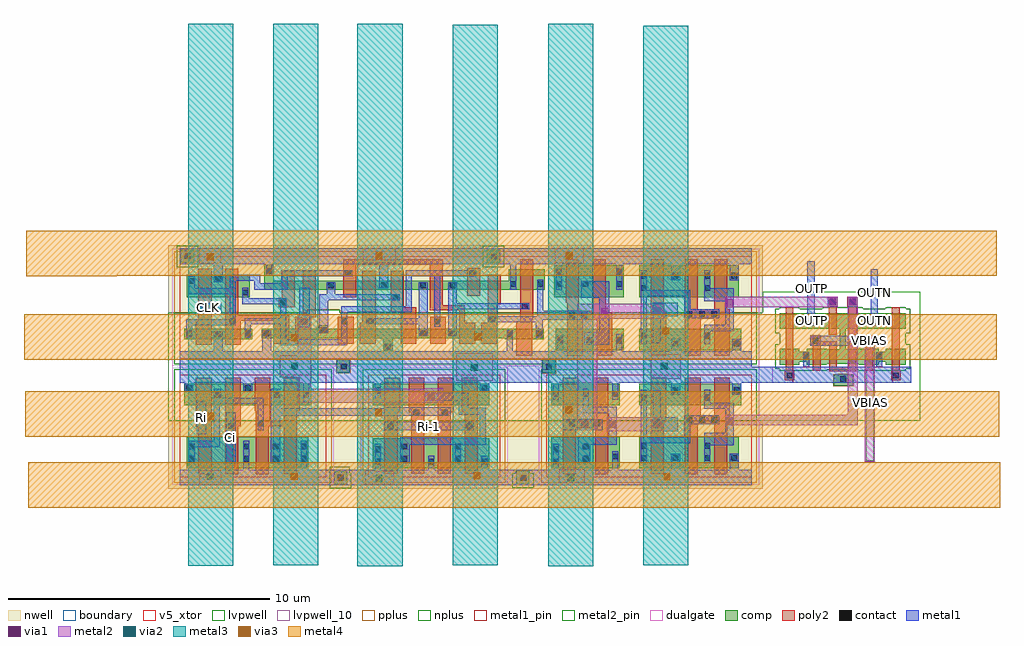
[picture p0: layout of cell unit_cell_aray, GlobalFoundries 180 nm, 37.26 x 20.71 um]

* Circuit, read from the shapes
.subckt unit_cell_aray CLK Ci OUTN OUTP Ri Ri-1 VBIAS VDD
XM1 n1 Ri gf180mcu_fd_sc_mcu7t5v0__dffq_2_3/D gf180mcu_fd_sc_mcu7t5v0__dffq_2_3/D nfet_05v0 w=0.82u l=0.6u
XM2 gf180mcu_fd_sc_mcu7t5v0__dffq_2_3/D CLK n2 gf180mcu_fd_sc_mcu7t5v0__dffq_2_3/D nfet_05v0 w=0.405u l=0.6u
XM3 gf180mcu_fd_sc_mcu7t5v0__dffq_2_3/D Ci n1 gf180mcu_fd_sc_mcu7t5v0__dffq_2_3/D nfet_05v0 w=0.82u l=0.6u
XM4 n3 n2 gf180mcu_fd_sc_mcu7t5v0__dffq_2_3/D gf180mcu_fd_sc_mcu7t5v0__dffq_2_3/D nfet_05v0 w=0.405u l=0.6u
XM5 gf180mcu_fd_sc_mcu7t5v0__nand2_2_1/A1 n1 gf180mcu_fd_sc_mcu7t5v0__dffq_2_3/D gf180mcu_fd_sc_mcu7t5v0__dffq_2_3/D nfet_05v0 w=0.82u l=0.6u m=2
XM6 n4 n2 gf180mcu_fd_sc_mcu7t5v0__dffq_2_3/D gf180mcu_fd_sc_mcu7t5v0__dffq_2_3/D nfet_05v0 w=0.36u l=0.6u
XM7 n5 gf180mcu_fd_sc_mcu7t5v0__dffq_2_3/D n4 gf180mcu_fd_sc_mcu7t5v0__dffq_2_3/D nfet_05v0 w=0.36u l=0.6u
XM8 n6 n3 n5 gf180mcu_fd_sc_mcu7t5v0__dffq_2_3/D nfet_05v0 w=0.36u l=0.6u
XM9 gf180mcu_fd_sc_mcu7t5v0__dffq_2_3/D n7 n6 gf180mcu_fd_sc_mcu7t5v0__dffq_2_3/D nfet_05v0 w=0.36u l=0.6u
XM10 n8 Ri-1 gf180mcu_fd_sc_mcu7t5v0__dffq_2_3/D gf180mcu_fd_sc_mcu7t5v0__dffq_2_3/D nfet_05v0 w=0.82u l=0.6u
XM11 n7 n5 gf180mcu_fd_sc_mcu7t5v0__dffq_2_3/D gf180mcu_fd_sc_mcu7t5v0__dffq_2_3/D nfet_05v0 w=0.36u l=0.6u
XM12 gf180mcu_fd_sc_mcu7t5v0__dffq_2_3/D gf180mcu_fd_sc_mcu7t5v0__nand2_2_1/A1 n8 gf180mcu_fd_sc_mcu7t5v0__dffq_2_3/D nfet_05v0 w=0.82u l=0.6u
XM13 n9 n3 n7 gf180mcu_fd_sc_mcu7t5v0__dffq_2_3/D nfet_05v0 w=0.36u l=0.6u
XM14 n10 gf180mcu_fd_sc_mcu7t5v0__nand2_2_1/A1 gf180mcu_fd_sc_mcu7t5v0__dffq_2_3/D gf180mcu_fd_sc_mcu7t5v0__dffq_2_3/D nfet_05v0 w=0.82u l=0.6u
XM15 n11 n2 n9 gf180mcu_fd_sc_mcu7t5v0__dffq_2_3/D nfet_05v0 w=0.36u l=0.6u
XM16 gf180mcu_fd_sc_mcu7t5v0__dffq_2_3/D Ri-1 n10 gf180mcu_fd_sc_mcu7t5v0__dffq_2_3/D nfet_05v0 w=0.82u l=0.6u
XM17 gf180mcu_fd_sc_mcu7t5v0__dffq_2_3/D n12 n11 gf180mcu_fd_sc_mcu7t5v0__dffq_2_3/D nfet_05v0 w=0.36u l=0.6u
XM18 n12 n9 gf180mcu_fd_sc_mcu7t5v0__dffq_2_3/D gf180mcu_fd_sc_mcu7t5v0__dffq_2_3/D nfet_05v0 w=0.4u l=0.6u
XM19 gf180mcu_fd_sc_mcu7t5v0__buf_2_4/I gf180mcu_fd_sc_mcu7t5v0__buf_2_5/I gf180mcu_fd_sc_mcu7t5v0__dffq_2_3/D gf180mcu_fd_sc_mcu7t5v0__dffq_2_3/D nfet_05v0 w=0.82u l=0.6u m=2
XM20 gf180mcu_fd_sc_mcu7t5v0__buf_2_5/I n12 gf180mcu_fd_sc_mcu7t5v0__dffq_2_3/D gf180mcu_fd_sc_mcu7t5v0__dffq_2_3/D nfet_05v0 w=0.82u l=0.6u m=2
XM21 gf180mcu_fd_sc_mcu7t5v0__dffq_2_3/D gf180mcu_fd_sc_mcu7t5v0__buf_2_4/I n13 gf180mcu_fd_sc_mcu7t5v0__dffq_2_3/D nfet_05v0 w=0.82u l=0.6u
XM22 gf180mcu_fd_sc_mcu7t5v0__dffq_2_3/D gf180mcu_fd_sc_mcu7t5v0__buf_2_5/I n14 gf180mcu_fd_sc_mcu7t5v0__dffq_2_3/D nfet_05v0 w=0.82u l=0.6u
XM23 CS_Switch_16x2_6/INN n13 gf180mcu_fd_sc_mcu7t5v0__dffq_2_3/D gf180mcu_fd_sc_mcu7t5v0__dffq_2_3/D nfet_05v0 w=0.82u l=0.6u m=2
XM24 CS_Switch_16x2_6/INP n14 gf180mcu_fd_sc_mcu7t5v0__dffq_2_3/D gf180mcu_fd_sc_mcu7t5v0__dffq_2_3/D nfet_05v0 w=0.82u l=0.6u m=2
XM25 gf180mcu_fd_sc_mcu7t5v0__dffq_2_3/D gf180mcu_fd_sc_mcu7t5v0__dffq_2_3/D n15 gf180mcu_fd_sc_mcu7t5v0__dffq_2_3/D nfet_03v3 w=0.62u l=0.3u
XM26 OUTP gf180mcu_fd_sc_mcu7t5v0__dffq_2_3/D n16 gf180mcu_fd_sc_mcu7t5v0__dffq_2_3/D nfet_03v3 w=0.6u l=0.3u
XM27 n17 VBIAS gf180mcu_fd_sc_mcu7t5v0__dffq_2_3/D gf180mcu_fd_sc_mcu7t5v0__dffq_2_3/D nfet_03v3 w=0.62u l=0.3u
XM28 n18 CS_Switch_16x2_6/INP OUTP gf180mcu_fd_sc_mcu7t5v0__dffq_2_3/D nfet_03v3 w=0.6u l=0.3u
XM29 n18 VBIAS n17 gf180mcu_fd_sc_mcu7t5v0__dffq_2_3/D nfet_03v3 w=0.56u l=0.28u
XM30 n19 VBIAS n18 gf180mcu_fd_sc_mcu7t5v0__dffq_2_3/D nfet_03v3 w=0.56u l=0.28u
XM31 OUTN CS_Switch_16x2_6/INN n18 gf180mcu_fd_sc_mcu7t5v0__dffq_2_3/D nfet_03v3 w=0.6u l=0.3u
XM32 gf180mcu_fd_sc_mcu7t5v0__dffq_2_3/D VBIAS n19 gf180mcu_fd_sc_mcu7t5v0__dffq_2_3/D nfet_03v3 w=0.62u l=0.3u
XM33 n20 gf180mcu_fd_sc_mcu7t5v0__dffq_2_3/D gf180mcu_fd_sc_mcu7t5v0__dffq_2_3/D gf180mcu_fd_sc_mcu7t5v0__dffq_2_3/D nfet_03v3 w=0.62u l=0.3u
XM34 n21 gf180mcu_fd_sc_mcu7t5v0__dffq_2_3/D OUTN gf180mcu_fd_sc_mcu7t5v0__dffq_2_3/D nfet_03v3 w=0.6u l=0.3u
XM35 n22 Ri n1 VDD pfet_05v0 w=1.22u l=0.5u
XM36 VDD CLK n2 VDD pfet_05v0 w=0.865u l=0.5u
XM37 VDD Ci n22 VDD pfet_05v0 w=1.22u l=0.5u
XM38 n3 n2 VDD VDD pfet_05v0 w=0.865u l=0.5u
XM39 gf180mcu_fd_sc_mcu7t5v0__nand2_2_1/A1 n1 VDD VDD pfet_05v0 w=1.22u l=0.5u m=2
XM40 n23 n3 VDD VDD pfet_05v0 w=0.36u l=0.5u
XM41 n5 gf180mcu_fd_sc_mcu7t5v0__dffq_2_3/D n23 VDD pfet_05v0 w=0.36u l=0.5u
XM42 n24 n2 n5 VDD pfet_05v0 w=0.36u l=0.5u
XM43 VDD n7 n24 VDD pfet_05v0 w=0.36u l=0.5u
XM44 gf180mcu_fd_sc_mcu7t5v0__dffq_2_3/D Ri-1 VDD VDD pfet_05v0 w=1.13u l=0.5u m=2
XM45 n7 n5 VDD VDD pfet_05v0 w=0.36u l=0.5u
XM46 VDD gf180mcu_fd_sc_mcu7t5v0__nand2_2_1/A1 gf180mcu_fd_sc_mcu7t5v0__dffq_2_3/D VDD pfet_05v0 w=1.13u l=0.5u m=2
XM47 n9 n2 n7 VDD pfet_05v0 w=0.36u l=0.5u
XM48 n25 n3 n9 VDD pfet_05v0 w=0.36u l=0.5u
XM49 VDD n12 n25 VDD pfet_05v0 w=0.36u l=0.5u
XM50 n12 n9 VDD VDD pfet_05v0 w=0.8u l=0.5u
XM51 gf180mcu_fd_sc_mcu7t5v0__buf_2_4/I gf180mcu_fd_sc_mcu7t5v0__buf_2_5/I VDD VDD pfet_05v0 w=1.22u l=0.5u m=2
XM52 gf180mcu_fd_sc_mcu7t5v0__buf_2_5/I n12 VDD VDD pfet_05v0 w=1.22u l=0.5u m=2
XM53 VDD gf180mcu_fd_sc_mcu7t5v0__buf_2_4/I n13 VDD pfet_05v0 w=1.22u l=0.5u
XM54 VDD gf180mcu_fd_sc_mcu7t5v0__buf_2_5/I n14 VDD pfet_05v0 w=1.22u l=0.5u
XM55 CS_Switch_16x2_6/INN n13 VDD VDD pfet_05v0 w=1.22u l=0.5u m=2
XM56 CS_Switch_16x2_6/INP n14 VDD VDD pfet_05v0 w=1.22u l=0.5u m=2
.ends

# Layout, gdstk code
import gdstk
lib = gdstk.Library(unit=1e-6, precision=1e-09)
def R(c, l, rs):  # rectangles x0, y0, x1, y1
    for r in rs: c.add(gdstk.rectangle(r[:2], r[2:], *l))
def A(c, l, x, y, w, h, nx, ny, dx, dy):  # array of equal rectangles
    R(c, l, [(x+i*dx, y+j*dy, x+i*dx+w, y+j*dy+h) for i in range(nx) for j in range(ny)])
def P(c, l, *ps):  # polygons
    for p in ps: c.add(gdstk.Polygon(p, *l))
boundary = (0, 0)
nwell = (21, 0)
comp = (22, 0)
poly2 = (30, 0)
pplus = (31, 0)
nplus = (32, 0)
contact = (33, 0)
metal1 = (34, 0)
metal1_pin = (34, 10)
via1 = (35, 0)
metal2 = (36, 0)
metal2_pin = (36, 10)
via2 = (38, 0)
via3 = (40, 0)
metal3 = (42, 0)
metal4 = (46, 0)
dualgate = (55, 0)
v5_xtor = (112, 1)
lvpwell = (204, 0)
lvpwell_10 = (204, 10)

gf180mcu_fd_sc_mcu7t5v0_ = lib.new_cell('gf180mcu_fd_sc_mcu7t5v0__or2_2')
R(gf180mcu_fd_sc_mcu7t5v0_, boundary, [(0,0,5.6,3.92)])
R(gf180mcu_fd_sc_mcu7t5v0_, nwell, [(-0.43,1.76,6.03,4.35)])
R(gf180mcu_fd_sc_mcu7t5v0_, comp, [(0.18,0.34,5.02,1.16), (0.28,2.36,4.92,3.58)])
P(gf180mcu_fd_sc_mcu7t5v0_, poly2, [(0.62,0.12),(0.62,1.97),(0.72,1.97),(0.72,3.8),(1.22,3.8),(1.22,0.12)],
  [(1.74,0.12),(1.74,3.8),(2.24,3.8),(2.24,1.97),(2.34,1.97),(2.34,0.12)],
  [(2.86,0.12),(2.86,1.385),(2.91,1.385),(2.91,3.8),(3.41,3.8),(3.41,1.97),(3.98,1.97),(3.98,3.8),(4.48,3.8),(4.48,1.385),(4.58,1.385),(4.58,0.12),(3.98,0.12),(3.98,1.74),(3.46,1.74),(3.46,0.12)])
R(gf180mcu_fd_sc_mcu7t5v0_, pplus, [(-0.2,1.76,5.8,4.12)])
R(gf180mcu_fd_sc_mcu7t5v0_, nplus, [(-0.2,-0.2,5.8,1.76)])
R(gf180mcu_fd_sc_mcu7t5v0_, contact, [(0.25,0.41,0.47,0.63), (2.49,0.41,2.71,0.63), (1.37,0.665,1.59,0.885), (3.61,0.665,3.83,0.885), (4.73,0.665,4.95,0.885), (0.73,1.565,0.95,1.785), (2.98,1.745,3.2,1.965), (1.85,1.85,2.07,2.07), (0.35,2.63,0.57,2.85), (2.44,2.63,2.66,2.85), (3.56,2.63,3.78,2.85), (4.63,2.63,4.85,2.85), (0.35,3.1,0.57,3.32), (2.44,3.1,2.66,3.32), (3.56,3.1,3.78,3.32), (4.63,3.1,4.85,3.32)])
R(gf180mcu_fd_sc_mcu7t5v0_, metal1, [(3.48,0.53,3.835,3.39), (0.66,1.015,1.02,2.28), (1.78,1.43,2.14,3.39)])
P(gf180mcu_fd_sc_mcu7t5v0_, metal1, [(1.3,0.53),(1.3,2.53),(0.345,2.53),(0.345,3.39),(0.575,3.39),(0.575,2.765),(1.53,2.765),(1.53,1.115),(2.975,1.115),(2.975,2.115),(3.205,2.115),(3.205,0.885),(1.595,0.885),(1.595,0.53)],
  [(0,-0.3),(0,0.3),(0.19,0.3),(0.19,0.635),(0.53,0.635),(0.53,0.3),(2.43,0.3),(2.43,0.635),(2.77,0.635),(2.77,0.3),(4.725,0.3),(4.725,1.045),(4.955,1.045),(4.955,0.3),(5.6,0.3),(5.6,-0.3)],
  [(2.435,2.53),(2.435,3.62),(0,3.62),(0,4.22),(5.6,4.22),(5.6,3.62),(4.855,3.62),(4.855,2.53),(4.625,2.53),(4.625,3.62),(2.665,3.62),(2.665,2.53)])
R(gf180mcu_fd_sc_mcu7t5v0_, dualgate, [(-0.28,-0.28,5.88,4.2)])
R(gf180mcu_fd_sc_mcu7t5v0_, v5_xtor, [(0,0,5.6,3.92)])
R(gf180mcu_fd_sc_mcu7t5v0_, lvpwell, [(-0.43,-0.43,6.03,1.76)])
gf180mcu_fd_sc_mcu7t5v0_.add(gdstk.Label('VDD', (2.8,3.915), layer=34, texttype=10))
gf180mcu_fd_sc_mcu7t5v0_.add(gdstk.Label('VSS', (2.8,-0.005), layer=34, texttype=10))
gf180mcu_fd_sc_mcu7t5v0_.add(gdstk.Label('Z', (3.64,1.96), layer=34, texttype=10))
gf180mcu_fd_sc_mcu7t5v0_.add(gdstk.Label('A1', (0.84,1.4), layer=34, texttype=10))
gf180mcu_fd_sc_mcu7t5v0_.add(gdstk.Label('A2', (1.96,2.52), layer=34, texttype=10))
gf180mcu_fd_sc_mcu7t5v0_.add(gdstk.Label('& Vendor GLOBALFOUNDRIES', (0,2), layer=63, texttype=63))
gf180mcu_fd_sc_mcu7t5v0_.add(gdstk.Label('& Product GF018hv5v_mcu_sc7', (0,1.5), layer=63, texttype=63))
gf180mcu_fd_sc_mcu7t5v0_.add(gdstk.Label('& Version 2015q2v1', (0,1), layer=63, texttype=63))
gf180mcu_fd_sc_mcu7t5v0_.add(gdstk.Label('& Metric 1.00', (0,0.5), layer=63, texttype=63))
gf180mcu_fd_sc_mcu7t5v0_.add(gdstk.Label('VNW', (0.345,3.92), layer=21, texttype=10))
gf180mcu_fd_sc_mcu7t5v0_.add(gdstk.Label('VPW', (0.34,-0.085), layer=204, texttype=10))

c_gf180mcu_fd_sc_mcu7t5v0_ = lib.new_cell('gf180mcu_fd_sc_mcu7t5v0__nand2_2')
R(c_gf180mcu_fd_sc_mcu7t5v0_, boundary, [(0,0,5.04,3.92)])
R(c_gf180mcu_fd_sc_mcu7t5v0_, nwell, [(-0.43,1.76,5.47,4.35)])
R(c_gf180mcu_fd_sc_mcu7t5v0_, comp, [(0.18,0.34,4.62,1.16), (0.18,2.435,4.62,3.565)])
P(c_gf180mcu_fd_sc_mcu7t5v0_, poly2, [(0.62,0.12),(0.62,3.785),(1.12,3.785),(1.12,1.44),(1.22,1.44),(1.22,0.12)],
  [(1.54,0.12),(1.54,1.44),(1.64,1.44),(1.64,3.785),(2.14,3.785),(2.14,0.12)],
  [(2.66,0.12),(2.66,3.785),(3.16,3.785),(3.16,1.44),(3.26,1.44),(3.26,0.12)],
  [(3.58,0.12),(3.58,1.44),(3.68,1.44),(3.68,3.785),(4.18,3.785),(4.18,0.12)])
R(c_gf180mcu_fd_sc_mcu7t5v0_, pplus, [(-0.2,1.76,5.24,4.12)])
R(c_gf180mcu_fd_sc_mcu7t5v0_, nplus, [(-0.2,-0.2,5.24,1.76)])
A(c_gf180mcu_fd_sc_mcu7t5v0_, contact, 0.25, 3.21, 0.22, 0.22, 3, 1, 2.04, 0)
R(c_gf180mcu_fd_sc_mcu7t5v0_, contact, [(4.33,0.41,4.55,0.63), (0.25,0.485,0.47,0.705), (2.29,0.735,2.51,0.955), (1.725,1.33,1.945,1.55), (2.815,1.33,3.035,1.55), (3.75,1.85,3.97,2.07), (0.74,1.855,0.96,2.075), (1.27,2.63,1.49,2.85), (3.31,2.63,3.53,2.85), (0.25,2.74,0.47,2.96), (1.27,3.1,1.49,3.32), (3.31,3.1,3.53,3.32)])
R(c_gf180mcu_fd_sc_mcu7t5v0_, metal1, [(0.62,1.24,3.16,1.56), (0.62,1.8,4.03,2.12)])
P(c_gf180mcu_fd_sc_mcu7t5v0_, metal1, [(2.15,0.68),(2.15,1),(3.46,1),(3.46,1.535),(4.26,1.535),(4.26,2.36),(1.22,2.36),(1.22,3.38),(1.58,3.38),(1.58,2.68),(3.305,2.68),(3.305,3.38),(3.535,3.38),(3.535,2.68),(4.49,2.68),(4.49,1.265),(3.82,1.265),(3.82,0.68)],
  [(0,-0.3),(0,0.3),(0.245,0.3),(0.245,0.905),(0.475,0.905),(0.475,0.3),(4.26,0.3),(4.26,0.635),(4.62,0.635),(4.62,0.3),(5.04,0.3),(5.04,-0.3)],
  [(0.245,2.64),(0.245,3.62),(0,3.62),(0,4.22),(5.04,4.22),(5.04,3.62),(4.555,3.62),(4.555,3.085),(4.325,3.085),(4.325,3.62),(2.515,3.62),(2.515,3.085),(2.285,3.085),(2.285,3.62),(0.475,3.62),(0.475,2.64)])
R(c_gf180mcu_fd_sc_mcu7t5v0_, dualgate, [(-0.28,-0.28,5.32,4.2)])
R(c_gf180mcu_fd_sc_mcu7t5v0_, v5_xtor, [(0,0,5.04,3.92)])
R(c_gf180mcu_fd_sc_mcu7t5v0_, lvpwell, [(-0.43,-0.43,5.47,1.76)])
c_gf180mcu_fd_sc_mcu7t5v0_.add(gdstk.Label('VDD', (2.52,3.91), layer=34, texttype=10))
c_gf180mcu_fd_sc_mcu7t5v0_.add(gdstk.Label('VSS', (2.52,0.015), layer=34, texttype=10))
c_gf180mcu_fd_sc_mcu7t5v0_.add(gdstk.Label('ZN', (3.08,2.52), layer=34, texttype=10))
c_gf180mcu_fd_sc_mcu7t5v0_.add(gdstk.Label('A1', (1.96,1.4), layer=34, texttype=10))
c_gf180mcu_fd_sc_mcu7t5v0_.add(gdstk.Label('A2', (2.52,1.96), layer=34, texttype=10))
c_gf180mcu_fd_sc_mcu7t5v0_.add(gdstk.Label('& Vendor GLOBALFOUNDRIES', (0,2), layer=63, texttype=63))
c_gf180mcu_fd_sc_mcu7t5v0_.add(gdstk.Label('& Product GF018hv5v_mcu_sc7', (0,1.5), layer=63, texttype=63))
c_gf180mcu_fd_sc_mcu7t5v0_.add(gdstk.Label('& Version 2015q2v1', (0,1), layer=63, texttype=63))
c_gf180mcu_fd_sc_mcu7t5v0_.add(gdstk.Label('& Metric 1.00', (0,0.5), layer=63, texttype=63))
c_gf180mcu_fd_sc_mcu7t5v0_.add(gdstk.Label('VNW', (0.345,3.92), layer=21, texttype=10))
c_gf180mcu_fd_sc_mcu7t5v0_.add(gdstk.Label('VPW', (0.34,-0.085), layer=204, texttype=10))

c_gf180mcu_fd_sc_mcu7t5v0__ = lib.new_cell('gf180mcu_fd_sc_mcu7t5v0__inv_2')
R(c_gf180mcu_fd_sc_mcu7t5v0__, boundary, [(0,0,3.36,3.92)])
R(c_gf180mcu_fd_sc_mcu7t5v0__, nwell, [(-0.43,1.76,3.79,4.35)])
R(c_gf180mcu_fd_sc_mcu7t5v0__, comp, [(0.18,0.34,2.81,1.16), (0.18,2.36,2.81,3.58)])
P(c_gf180mcu_fd_sc_mcu7t5v0__, poly2, [(0.62,0.12),(0.62,3.8),(1.12,3.8),(1.12,2.035),(1.87,2.035),(1.87,3.8),(2.37,3.8),(2.37,0.12),(1.77,0.12),(1.77,1.675),(1.22,1.675),(1.22,0.12)])
R(c_gf180mcu_fd_sc_mcu7t5v0__, pplus, [(-0.2,1.76,3.56,4.12)])
R(c_gf180mcu_fd_sc_mcu7t5v0__, nplus, [(-0.2,-0.2,3.56,1.76)])
A(c_gf180mcu_fd_sc_mcu7t5v0__, contact, 0.875, 1.745, 0.22, 0.22, 3, 1, 0.47, 0)
R(c_gf180mcu_fd_sc_mcu7t5v0__, contact, [(0.25,0.63,0.47,0.85), (1.4,0.63,1.62,0.85), (2.52,0.63,2.74,0.85), (1.4,2.63,1.62,2.85), (0.25,2.74,0.47,2.96), (2.52,3.01,2.74,3.23), (1.4,3.1,1.62,3.32), (0.25,3.21,0.47,3.43)])
R(c_gf180mcu_fd_sc_mcu7t5v0__, metal1, [(0.63,1.705,2.15,2.12)])
P(c_gf180mcu_fd_sc_mcu7t5v0__, metal1, [(1.395,0.53),(1.395,1.475),(2.38,1.475),(2.38,2.36),(1.22,2.36),(1.22,3.39),(1.67,3.39),(1.67,2.68),(2.68,2.68),(2.68,1.22),(1.625,1.22),(1.625,0.53)],
  [(0,-0.3),(0,0.3),(0.245,0.3),(0.245,0.95),(0.475,0.95),(0.475,0.3),(2.515,0.3),(2.515,0.95),(2.745,0.95),(2.745,0.3),(3.36,0.3),(3.36,-0.3)],
  [(0.245,2.64),(0.245,3.62),(0,3.62),(0,4.22),(3.36,4.22),(3.36,3.62),(2.745,3.62),(2.745,2.93),(2.515,2.93),(2.515,3.62),(0.475,3.62),(0.475,2.64)])
R(c_gf180mcu_fd_sc_mcu7t5v0__, dualgate, [(-0.28,-0.28,3.64,4.2)])
R(c_gf180mcu_fd_sc_mcu7t5v0__, v5_xtor, [(0,0,3.36,3.92)])
R(c_gf180mcu_fd_sc_mcu7t5v0__, lvpwell, [(-0.43,-0.43,3.79,1.76)])
c_gf180mcu_fd_sc_mcu7t5v0__.add(gdstk.Label('VSS', (1.68,-0.025), layer=34, texttype=10))
c_gf180mcu_fd_sc_mcu7t5v0__.add(gdstk.Label('ZN', (1.96,2.52), layer=34, texttype=10))
c_gf180mcu_fd_sc_mcu7t5v0__.add(gdstk.Label('I', (1.4,1.96), layer=34, texttype=10))
c_gf180mcu_fd_sc_mcu7t5v0__.add(gdstk.Label('VDD', (1.68,3.93), layer=34, texttype=10))
c_gf180mcu_fd_sc_mcu7t5v0__.add(gdstk.Label('& Vendor GLOBALFOUNDRIES', (0,2), layer=63, texttype=63))
c_gf180mcu_fd_sc_mcu7t5v0__.add(gdstk.Label('& Product GF018hv5v_mcu_sc7', (0,1.5), layer=63, texttype=63))
c_gf180mcu_fd_sc_mcu7t5v0__.add(gdstk.Label('& Version 2015q2v1', (0,1), layer=63, texttype=63))
c_gf180mcu_fd_sc_mcu7t5v0__.add(gdstk.Label('& Metric 1.00', (0,0.5), layer=63, texttype=63))
c_gf180mcu_fd_sc_mcu7t5v0__.add(gdstk.Label('VNW', (0.345,3.92), layer=21, texttype=10))
c_gf180mcu_fd_sc_mcu7t5v0__.add(gdstk.Label('VPW', (0.34,-0.085), layer=204, texttype=10))

c_gf180mcu_fd_sc_mcu7t5v0___ = lib.new_cell('gf180mcu_fd_sc_mcu7t5v0__dffq_2')
R(c_gf180mcu_fd_sc_mcu7t5v0___, boundary, [(0,0,17.36,3.92)])
P(c_gf180mcu_fd_sc_mcu7t5v0___, nwell, [(-0.43,1.76),(-0.43,4.35),(17.79,4.35),(17.79,1.76),(6.12,1.76),(6.12,1.885),(4.865,1.885),(4.865,1.76)])
R(c_gf180mcu_fd_sc_mcu7t5v0___, comp, [(14.36,0.34,16.96,1.16), (0.18,0.755,2.78,1.16), (0.28,2.36,2.68,3.225), (14.3,2.36,16.96,3.58)])
P(c_gf180mcu_fd_sc_mcu7t5v0___, comp, [(7.78,0.29),(7.78,0.795),(3.14,0.795),(3.14,1.155),(5.32,1.155),(5.32,1.285),(5.68,1.285),(5.68,1.155),(13.9,1.155),(13.9,0.755),(12.42,0.755),(12.42,0.795),(8.14,0.795),(8.14,0.29)],
  [(3.24,2.635),(3.24,3.6),(3.6,3.6),(3.6,2.995),(12.56,2.995),(12.56,3.435),(13.94,3.435),(13.94,2.635)])
R(c_gf180mcu_fd_sc_mcu7t5v0___, poly2, [(6.04,0.575,6.64,1.62), (9.56,0.575,10.16,1.615), (10.98,2.415,11.48,3.455)])
P(c_gf180mcu_fd_sc_mcu7t5v0___, poly2, [(0.62,0.535),(0.62,1.44),(0.72,1.44),(0.72,3.45),(1.22,3.45),(1.22,0.535)],
  [(1.74,0.535),(1.74,3.45),(2.24,3.45),(2.24,1.66),(4.18,1.66),(4.18,0.575),(3.58,0.575),(3.58,1.46),(2.34,1.46),(2.34,0.535)],
  [(3.78,1.975),(3.78,2.335),(3.9,2.335),(3.9,3.36),(4.4,3.36),(4.4,1.975)],
  [(4.42,0.575),(4.42,1.62),(4.7,1.62),(4.7,3.36),(5.2,3.36),(5.2,1.585),(5.02,1.585),(5.02,0.575)],
  [(6.88,0.575),(6.88,1.375),(6.98,1.375),(6.98,3.36),(7.48,3.36),(7.48,0.575)],
  [(8.44,0.575),(8.44,1.78),(8.06,1.78),(8.06,3.36),(8.56,3.36),(8.56,1.98),(9.04,1.98),(9.04,0.575)],
  [(10.68,0.575),(10.68,1.86),(9.555,1.86),(9.555,3.6),(6.74,3.6),(6.74,2.355),(6.24,2.355),(6.24,3.8),(10.055,3.8),(10.055,2.06),(10.88,2.06),(10.88,1.375),(11.28,1.375),(11.28,0.575)],
  [(11.52,0.575),(11.52,1.375),(11.76,1.375),(11.76,3.215),(12.26,3.215),(12.26,2.08),(12.12,2.08),(12.12,0.575)],
  [(12.86,0.12),(12.86,1.44),(13,1.44),(13,3.8),(13.5,3.8),(13.5,1.555),(13.46,1.555),(13.46,0.12)],
  [(14.8,0.12),(14.8,2.14),(14.74,2.14),(14.74,3.8),(15.24,3.8),(15.24,1.85),(15.76,1.85),(15.76,3.8),(16.26,3.8),(16.26,1.785),(16.52,1.785),(16.52,0.12),(15.92,0.12),(15.92,1.49),(15.4,1.49),(15.4,0.12)])
P(c_gf180mcu_fd_sc_mcu7t5v0___, pplus, [(-0.2,1.76),(-0.2,4.12),(17.56,4.12),(17.56,1.76),(6.12,1.76),(6.12,1.885),(4.865,1.885),(4.865,1.76)])
P(c_gf180mcu_fd_sc_mcu7t5v0___, nplus, [(-0.2,-0.2),(-0.2,1.76),(4.865,1.76),(4.865,1.885),(6.12,1.885),(6.12,1.76),(17.56,1.76),(17.56,-0.2)])
A(c_gf180mcu_fd_sc_mcu7t5v0___, contact, 14.43, 0.61, 0.22, 0.22, 3, 1, 1.12, 0)
R(c_gf180mcu_fd_sc_mcu7t5v0___, contact, [(7.85,0.36,8.07,0.58), (1.37,0.825,1.59,1.045), (12.49,0.825,12.71,1.045), (3.21,0.865,3.43,1.085), (9.19,0.865,9.41,1.085), (10.31,0.865,10.53,1.085), (13.61,0.865,13.83,1.085), (0.25,0.87,0.47,1.09), (2.49,0.87,2.71,1.09), (5.39,0.995,5.61,1.215), (7.19,1.325,7.41,1.545), (9.725,1.325,9.945,1.545), (4.635,1.33,4.855,1.55), (6.17,1.33,6.39,1.55), (1.92,1.34,2.14,1.56), (11.83,1.405,12.05,1.625), (14.87,1.56,15.09,1.78), (15.34,1.56,15.56,1.78), (0.79,1.855,1.01,2.075), (13.07,1.9,13.29,2.12), (3.85,2.045,4.07,2.265), (8.13,2.245,8.35,2.465), (2.39,2.43,2.61,2.65), (5.67,2.705,5.89,2.925), (7.69,2.705,7.91,2.925), (9.185,2.705,9.405,2.925), (10.31,2.705,10.53,2.925), (12.63,2.75,12.85,2.97), (13.65,2.75,13.87,2.97), (14.37,2.75,14.59,2.97), (15.39,2.75,15.61,2.97), (16.67,2.75,16.89,2.97), (0.35,2.87,0.57,3.09), (1.37,2.935,1.59,3.155), (6.31,3.165,6.53,3.385), (11.05,3.165,11.27,3.385), (14.37,3.22,14.59,3.44), (16.67,3.22,16.89,3.44), (3.31,3.245,3.53,3.465)])
R(c_gf180mcu_fd_sc_mcu7t5v0___, metal1, [(4.57,1.21,4.975,2.71), (0.65,1.77,1.59,2.15)])
P(c_gf180mcu_fd_sc_mcu7t5v0___, metal1, [(0.245,0.81),(0.245,1.51),(1.915,1.51),(1.915,2.47),(0.345,2.47),(0.345,3.155),(0.575,3.155),(0.575,2.7),(1.915,2.7),(1.915,3.215),(3.075,3.215),(3.075,2.885),(3.89,2.885),(3.89,3.39),(6.59,3.39),(6.59,3.16),(4.12,3.16),(4.12,2.65),(2.845,2.65),(2.845,2.98),(2.145,2.98),(2.145,1.28),(0.475,1.28),(0.475,0.81)],
  [(5.325,0.99),(5.325,2.47),(5.61,2.47),(5.61,2.93),(5.95,2.93),(5.95,2.47),(8.41,2.47),(8.41,2.24),(5.67,2.24),(5.67,0.99)],
  [(9.13,0.86),(9.13,1.32),(7.13,1.32),(7.13,1.55),(9.125,1.55),(9.125,2.93),(9.47,2.93),(9.47,0.86)],
  [(3.845,0.53),(3.845,1.325),(2.715,1.325),(2.715,0.81),(2.485,0.81),(2.485,1.555),(3.845,1.555),(3.845,2.09),(2.385,2.09),(2.385,2.71),(2.615,2.71),(2.615,2.325),(4.075,2.325),(4.075,0.76),(6.165,0.76),(6.165,2.01),(8.64,2.01),(8.64,3.39),(11.33,3.39),(11.33,3.16),(9.95,3.16),(9.95,1.225),(9.72,1.225),(9.72,3.16),(8.87,3.16),(8.87,1.78),(6.395,1.78),(6.395,0.53)],
  [(10.25,0.86),(10.25,2.93),(10.59,2.93),(10.59,2.13),(13.35,2.13),(13.35,1.895),(10.59,1.895),(10.59,0.86)],
  [(13.605,0.805),(13.605,1.4),(11.77,1.4),(11.77,1.63),(13.645,1.63),(13.645,3.03),(13.875,3.03),(13.875,1.84),(15.565,1.84),(15.565,1.5),(13.87,1.5),(13.87,0.805)],
  [(15.45,0.55),(15.45,1.02),(16.03,1.02),(16.03,2.33),(15.33,2.33),(15.33,2.975),(16.41,2.975),(16.41,0.55)],
  [(0,-0.3),(0,0.3),(1.31,0.3),(1.31,1.05),(1.65,1.05),(1.65,0.3),(3.15,0.3),(3.15,1.09),(3.49,1.09),(3.49,0.3),(7.79,0.3),(7.79,0.585),(8.13,0.585),(8.13,0.3),(12.485,0.3),(12.485,1.105),(12.715,1.105),(12.715,0.3),(14.425,0.3),(14.425,0.89),(14.655,0.89),(14.655,0.3),(16.665,0.3),(16.665,0.97),(16.895,0.97),(16.895,0.3),(17.36,0.3),(17.36,-0.3)],
  [(12.625,2.635),(12.625,3.62),(7.97,3.62),(7.97,2.7),(7.63,2.7),(7.63,3.62),(3.535,3.62),(3.535,3.185),(3.305,3.185),(3.305,3.62),(1.65,3.62),(1.65,2.93),(1.31,2.93),(1.31,3.62),(0,3.62),(0,4.22),(17.36,4.22),(17.36,3.62),(16.895,3.62),(16.895,2.635),(16.665,2.635),(16.665,3.62),(14.595,3.62),(14.595,2.635),(14.365,2.635),(14.365,3.62),(12.855,3.62),(12.855,2.635)])
R(c_gf180mcu_fd_sc_mcu7t5v0___, dualgate, [(-0.28,-0.28,17.64,4.2)])
R(c_gf180mcu_fd_sc_mcu7t5v0___, v5_xtor, [(0,0,17.36,3.92)])
P(c_gf180mcu_fd_sc_mcu7t5v0___, lvpwell, [(-0.43,-0.43),(-0.43,1.76),(4.865,1.76),(4.865,1.885),(6.12,1.885),(6.12,1.76),(17.79,1.76),(17.79,-0.43)])
c_gf180mcu_fd_sc_mcu7t5v0___.add(gdstk.Label('D', (4.76,1.96), layer=34, texttype=10))
c_gf180mcu_fd_sc_mcu7t5v0___.add(gdstk.Label('VDD', (1.4,3.92), layer=34, texttype=10))
c_gf180mcu_fd_sc_mcu7t5v0___.add(gdstk.Label('VSS', (1.4,0), layer=34, texttype=10))
c_gf180mcu_fd_sc_mcu7t5v0___.add(gdstk.Label('CLK', (0.84,1.96), layer=34, texttype=10))
c_gf180mcu_fd_sc_mcu7t5v0___.add(gdstk.Label('Q', (15.96,2.52), layer=34, texttype=10))
c_gf180mcu_fd_sc_mcu7t5v0___.add(gdstk.Label('& Vendor GLOBALFOUNDRIES', (0,2), layer=63, texttype=63))
c_gf180mcu_fd_sc_mcu7t5v0___.add(gdstk.Label('& Product GF018hv5v_mcu_sc7', (0,1.5), layer=63, texttype=63))
c_gf180mcu_fd_sc_mcu7t5v0___.add(gdstk.Label('& Version 2015q2v1', (0,1), layer=63, texttype=63))
c_gf180mcu_fd_sc_mcu7t5v0___.add(gdstk.Label('& Metric 1.00', (0,0.5), layer=63, texttype=63))
c_gf180mcu_fd_sc_mcu7t5v0___.add(gdstk.Label('VNW', (0.345,3.92), layer=21, texttype=10))
c_gf180mcu_fd_sc_mcu7t5v0___.add(gdstk.Label('VPW', (0.34,-0.085), layer=204, texttype=10))

c_gf180mcu_fd_sc_mcu7t5v0____ = lib.new_cell('gf180mcu_fd_sc_mcu7t5v0__buf_2')
R(c_gf180mcu_fd_sc_mcu7t5v0____, boundary, [(0,0,4.48,3.92)])
R(c_gf180mcu_fd_sc_mcu7t5v0____, nwell, [(-0.43,1.76,4.91,4.35)])
R(c_gf180mcu_fd_sc_mcu7t5v0____, comp, [(0.18,0.34,4.09,1.16), (0.18,2.36,3.99,3.58)])
P(c_gf180mcu_fd_sc_mcu7t5v0____, poly2, [(0.62,0.12),(0.62,3.8),(1.12,3.8),(1.12,1.81),(1.22,1.81),(1.22,0.12)],
  [(1.93,0.12),(1.93,3.8),(2.43,3.8),(2.43,1.9),(3.05,1.9),(3.05,3.8),(3.55,3.8),(3.55,1.9),(3.65,1.9),(3.65,0.12),(3.05,0.12),(3.05,1.54),(2.53,1.54),(2.53,0.12)])
R(c_gf180mcu_fd_sc_mcu7t5v0____, pplus, [(-0.2,1.76,4.68,4.12)])
R(c_gf180mcu_fd_sc_mcu7t5v0____, nplus, [(-0.2,-0.2,4.68,1.76)])
A(c_gf180mcu_fd_sc_mcu7t5v0____, contact, 2, 1.61, 0.22, 0.22, 3, 1, 0.47, 0)
A(c_gf180mcu_fd_sc_mcu7t5v0____, contact, 0.25, 3.07, 0.22, 0.22, 3, 1, 1.215, 0)
R(c_gf180mcu_fd_sc_mcu7t5v0____, contact, [(1.465,0.485,1.685,0.705), (3.8,0.485,4.02,0.705), (0.25,0.775,0.47,0.995), (2.68,0.775,2.9,0.995), (0.76,1.685,0.98,1.905), (0.25,2.6,0.47,2.82), (2.68,2.6,2.9,2.82), (3.7,3.07,3.92,3.29)])
P(c_gf180mcu_fd_sc_mcu7t5v0____, metal1, [(0.705,0.61),(0.705,2.15),(1.65,2.15),(1.65,1.625),(1.015,1.625),(1.015,0.61)],
  [(0.245,0.57),(0.245,3.39),(0.475,3.39),(0.475,2.625),(2.13,2.625),(2.13,1.89),(3.24,1.89),(3.24,1.55),(1.9,1.55),(1.9,2.39),(0.475,2.39),(0.475,0.57)],
  [(2.675,0.57),(2.675,1.3),(3.48,1.3),(3.48,2.21),(2.675,2.21),(2.675,3.39),(2.905,3.39),(2.905,2.7),(3.8,2.7),(3.8,1.065),(2.905,1.065),(2.905,0.57)],
  [(0,-0.3),(0,0.3),(1.405,0.3),(1.405,0.765),(1.745,0.765),(1.745,0.3),(3.74,0.3),(3.74,0.765),(4.08,0.765),(4.08,0.3),(4.48,0.3),(4.48,-0.3)],
  [(1.405,3.01),(1.405,3.62),(0,3.62),(0,4.22),(4.48,4.22),(4.48,3.62),(3.98,3.62),(3.98,3.01),(3.64,3.01),(3.64,3.62),(1.745,3.62),(1.745,3.01)])
R(c_gf180mcu_fd_sc_mcu7t5v0____, dualgate, [(-0.28,-0.28,4.76,4.2)])
R(c_gf180mcu_fd_sc_mcu7t5v0____, v5_xtor, [(0,0,4.48,3.92)])
R(c_gf180mcu_fd_sc_mcu7t5v0____, lvpwell, [(-0.43,-0.43,4.91,1.76)])
c_gf180mcu_fd_sc_mcu7t5v0____.add(gdstk.Label('VSS', (2.15,0), layer=34, texttype=10))
c_gf180mcu_fd_sc_mcu7t5v0____.add(gdstk.Label('Z', (3.08,2.52), layer=34, texttype=10))
c_gf180mcu_fd_sc_mcu7t5v0____.add(gdstk.Label('I', (0.84,1.4), layer=34, texttype=10))
c_gf180mcu_fd_sc_mcu7t5v0____.add(gdstk.Label('VDD', (2.15,3.92), layer=34, texttype=10))
c_gf180mcu_fd_sc_mcu7t5v0____.add(gdstk.Label('& Vendor GLOBALFOUNDRIES', (0,2), layer=63, texttype=63))
c_gf180mcu_fd_sc_mcu7t5v0____.add(gdstk.Label('& Product GF018hv5v_mcu_sc7', (0,1.5), layer=63, texttype=63))
c_gf180mcu_fd_sc_mcu7t5v0____.add(gdstk.Label('& Version 2015q2v1', (0,1), layer=63, texttype=63))
c_gf180mcu_fd_sc_mcu7t5v0____.add(gdstk.Label('& Metric 1.00', (0,0.5), layer=63, texttype=63))
c_gf180mcu_fd_sc_mcu7t5v0____.add(gdstk.Label('VNW', (0.345,3.92), layer=21, texttype=10))
c_gf180mcu_fd_sc_mcu7t5v0____.add(gdstk.Label('VPW', (0.34,-0.085), layer=204, texttype=10))

cs_switch_16x2 = lib.new_cell('CS_Switch_16x2')
R(cs_switch_16x2, comp, [(0.81,3.335,1.56,3.755), (-1.25,4.13,-0.49,4.24), (-0.21,4.13,0.55,4.16), (1.77,4.13,2.53,4.16), (2.81,4.13,3.57,4.24), (-0.21,4.16,2.53,4.24), (-1.25,4.24,3.57,4.62), (-1.25,4.62,-0.49,4.75), (-0.21,4.62,2.53,4.72), (2.81,4.62,3.57,4.75), (-0.21,4.72,0.55,4.75), (1.05,4.72,1.27,5.5), (1.77,4.72,2.53,4.75), (-1.25,5.5,3.57,6.1)])
R(cs_switch_16x2, poly2, [(-1.05,3.54,-0.69,3.9), (3.01,3.54,3.37,3.9), (0.65,3.88,1.67,4.06), (-1.02,3.9,-0.72,6.33), (0.02,3.9,0.32,4.85), (2,3.9,2.3,4.85), (3.04,3.9,3.34,6.33), (0.65,4.06,0.93,4.85), (1.39,4.06,1.67,4.85), (-0.08,4.85,0.93,5.03), (1.39,4.85,2.4,5.03), (-0.08,5.03,0.32,5.25), (2,5.03,2.4,5.25), (0.63,5.27,0.93,6.33), (1.39,5.27,1.69,6.33), (0.58,6.33,0.98,6.73), (1.34,6.33,1.74,6.73)])
R(cs_switch_16x2, pplus, [(0.79,3.315,1.58,3.775), (0.975,3.775,1.395,3.785)])
R(cs_switch_16x2, nplus, [(-1.25,3.9,0.55,3.93), (1.77,3.9,3.57,3.93), (-1.25,3.93,3.57,3.97), (-1.41,3.97,3.73,4.91), (-1.25,4.91,3.57,5.34), (-1.41,5.34,3.73,6.26), (-1.25,6.26,-0.49,6.33), (0.4,6.26,1.92,6.33), (2.81,6.26,3.57,6.33)])
R(cs_switch_16x2, contact, [(1.075,3.465,1.295,3.685), (-0.98,3.61,-0.76,3.83), (3.08,3.61,3.3,3.83), (-0.35,4.325,-0.13,4.545), (2.45,4.325,2.67,4.545), (0.01,4.94,0.23,5.16), (2.09,4.94,2.31,5.16), (-0.155,5.69,0.065,5.91), (2.255,5.69,2.475,5.91), (0.67,6.42,0.89,6.64), (1.43,6.42,1.65,6.64)])
R(cs_switch_16x2, metal1, [(-1.535,3.45,3.78,4.05), (-0.355,4.05,-0.125,4.605), (2.445,4.05,2.675,4.605), (-0.07,4.86,0.31,5.24), (2.01,4.86,2.39,5.24), (-0.235,5.61,0.145,5.99), (2.175,5.61,2.555,5.99), (0.59,6.34,0.97,6.72), (1.35,6.34,1.73,6.72)])
R(cs_switch_16x2, metal1_pin, [(-0.755,3.45,3.075,4.05), (-0.07,4.86,0.31,5.24), (2.01,4.86,2.39,5.24), (-0.235,5.61,0.145,5.99), (2.175,5.61,2.555,5.99), (0.59,6.34,0.97,6.72), (1.35,6.34,1.73,6.72)])
R(cs_switch_16x2, lvpwell, [(-1.885,3.155,4.125,6.92)])
R(cs_switch_16x2, lvpwell_10, [(-1.535,3.45,-0.755,4.05), (3.075,3.45,3.78,4.055), (-0.355,4.05,-0.125,4.605), (2.445,4.05,2.675,4.605)])
cs_switch_16x2.add(gdstk.Label('INP', (0.78,6.53), layer=34, texttype=10))
cs_switch_16x2.add(gdstk.Label('INN', (1.54,6.53), layer=34, texttype=10))
cs_switch_16x2.add(gdstk.Label('OUTP', (-0.045,5.8), layer=34, texttype=10))
cs_switch_16x2.add(gdstk.Label('OUTN', (2.365,5.8), layer=34, texttype=10))
cs_switch_16x2.add(gdstk.Label('VBIAS', (0.12,5.05), layer=34, texttype=10))
cs_switch_16x2.add(gdstk.Label('VBIAS', (2.2,5.05), layer=34, texttype=10))
cs_switch_16x2.add(gdstk.Label('VSS', (-1.145,3.75), layer=204, texttype=10))
cs_switch_16x2.add(gdstk.Label('VSS', (-0.24,4.327), layer=204, texttype=10))
cs_switch_16x2.add(gdstk.Label('VSS', (2.56,4.327), layer=204, texttype=10))
cs_switch_16x2.add(gdstk.Label('VSS', (3.427,3.752), layer=204, texttype=10))
cs_switch_16x2.add(gdstk.Label('VSS', (1.16,3.75), layer=34, texttype=10))

unit_cell_aray = lib.new_cell('unit_cell_aray')
R(unit_cell_aray, nwell, [(6.27,-1.325,14.39,-1.155), (6.265,-1.155,14.39,-0.655), (6.27,-0.655,14.39,1.265), (0.42,7.295,0.92,7.795), (12.105,7.295,12.605,7.795), (14.995,7.43,15.5,7.71)])
R(unit_cell_aray, comp, [(6.265,-1.155,6.765,-0.655), (13.225,-1.135,13.725,-0.635), (14.22,3.09,14.72,3.59), (6.375,3.095,6.875,3.595), (0.42,7.295,0.92,7.795), (12.105,7.295,12.605,7.795)])
R(unit_cell_aray, pplus, [(14.2,3.07,14.74,3.085), (6.355,3.075,6.895,3.615), (14.2,3.085,14.745,3.565), (14.2,3.565,14.74,3.61), (17.49,5.825,17.75,7.365)])
R(unit_cell_aray, nplus, [(6.105,-1.315,6.925,-0.735), (13.065,-1.295,13.885,-0.735), (6.105,-0.735,6.86,-0.495), (13.205,-0.735,13.745,-0.615), (17.49,3.805,17.75,4.945), (0.26,7.135,1.08,7.955), (11.945,7.135,12.765,7.955)])
R(unit_cell_aray, contact, [(13.39,-1.025,13.61,-0.805), (6.415,-1.015,6.635,-0.795), (14.36,3.215,14.58,3.435), (6.525,3.23,6.745,3.45), (12.275,7.425,12.495,7.645), (0.57,7.45,0.79,7.67)])
R(unit_cell_aray, metal1, [(5.895,-1.195,7.62,-0.595), (12.57,-1.195,15.99,-0.595), (7.705,-1.07,8.265,-0.79), (1.26,-1.005,1.82,-0.725), (2.15,-0.365,2.51,1.595), (1.03,0.745,1.39,2.01), (8.19,0.905,11.6,1.225), (15.705,0.98,15.965,1.24), (16.765,0.995,17.025,1.255), (18.475,0.995,18.735,1.255), (21.235,1.15,21.495,1.41), (4.055,1.465,8.19,1.75), (9.845,2.045,10.105,2.305), (5.955,2.725,7.65,3.375), (12.51,2.725,14.64,3.18), (22.13,2.725,23.855,3.325), (11.345,3.02,11.9,3.58), (4.48,3.075,5.045,3.645), (18.595,3.08,19.155,3.635), (12.51,3.18,14.65,3.47), (6.475,3.375,6.795,3.49), (12.51,3.47,14.64,3.57), (24.455,4.135,26.915,4.515), (24.29,4.885,24.67,5.265), (26.7,4.885,27.08,5.265), (5,4.925,5.26,5.185), (24.34,5.265,24.62,7.36), (26.75,5.265,27.03,7.055), (16.455,5.315,16.715,5.575), (18.485,5.315,18.745,5.575), (1.02,5.395,1.96,5.775), (21.245,5.65,21.505,5.91), (25.165,5.67,25.445,5.95), (25.925,5.67,26.205,5.95), (1.26,7.39,1.82,7.67), (0.51,7.395,0.855,7.725), (12.235,7.395,12.54,7.68), (7.7,7.43,8.26,7.71), (14.995,7.43,15.5,7.71)])
R(unit_cell_aray, metal1_pin, [(24.29,4.885,24.67,5.265), (26.7,4.885,27.08,5.265), (24.34,5.265,24.62,7.36), (26.75,5.265,27.03,7.055)])
R(unit_cell_aray, via1, [(7.855,-1.06,8.115,-0.8), (15.17,-1.045,15.43,-0.785), (1.41,-0.995,1.67,-0.735), (15.705,0.98,15.965,1.24), (16.765,0.995,17.025,1.255), (18.475,0.995,18.735,1.255), (21.235,1.15,21.495,1.41), (9.845,2.045,10.105,2.305), (11.49,3.17,11.75,3.43), (18.745,3.225,19.005,3.485), (4.63,3.23,4.89,3.49), (26.6,4.195,26.86,4.455), (5,4.925,5.26,5.185), (16.455,5.315,16.715,5.575), (18.485,5.315,18.745,5.575), (21.245,5.65,21.505,5.91), (25.175,5.68,25.435,5.94), (25.935,5.68,26.195,5.94), (1.41,7.4,1.67,7.66), (7.85,7.44,8.11,7.7), (15.115,7.44,15.375,7.7)])
R(unit_cell_aray, metal2, [(1.12,-1.175,1.965,-0.615), (7.435,-1.165,8.56,-0.645), (14.84,-1.12,15.84,-0.59), (26.535,-0.295,26.915,4.515), (16.675,0.875,18.8,1.4), (15.56,0.905,16.31,5.17), (21.2,1.09,26.255,1.49), (25.875,1.49,26.255,5.995), (4.875,1.96,10.44,2.48), (4.875,2.48,5.395,2.93), (9.72,2.48,10.44,2.5), (10.925,2.8,12.325,3.835), (18.365,2.875,19.51,3.815), (4.2,2.93,5.395,3.77), (4.875,3.77,5.395,5.315), (15.56,5.17,18.88,5.73), (21.2,5.595,25.495,5.995), (1.115,7.28,1.96,7.84), (7.36,7.28,8.63,7.835), (14.685,7.28,15.805,7.835)])
R(unit_cell_aray, metal2_pin, [(26.59,-0.265,26.87,4.185), (26.535,4.135,26.915,4.515)])
R(unit_cell_aray, via2, [(7.855,-1.06,8.115,-0.8), (15.17,-1.045,15.43,-0.785), (1.41,-0.995,1.67,-0.735), (11.49,3.17,11.75,3.43), (18.745,3.225,19.005,3.485), (4.63,3.23,4.89,3.49), (1.41,7.4,1.67,7.66), (7.85,7.44,8.11,7.7), (15.115,7.44,15.375,7.7)])
R(unit_cell_aray, via3, [(18.85,-1.005,19.11,-0.745), (4.615,-0.99,4.875,-0.73), (11.595,-0.96,11.855,-0.7), (1.425,1.305,1.685,1.565), (7.83,1.44,8.09,1.7), (15.1,1.555,15.36,1.815), (4.605,4.305,4.865,4.565), (11.615,4.34,11.875,4.6), (18.805,4.565,19.065,4.825), (1.41,7.4,1.67,7.66), (7.85,7.44,8.11,7.7), (15.115,7.44,15.375,7.7)])
R(unit_cell_aray, metal3, [(7.16,-4.285,8.88,16.415), (14.445,-4.28,16.165,16.42), (0.7,-4.26,2.42,16.415), (3.945,-4.25,5.665,16.415), (10.795,-4.25,12.515,16.385), (18.07,-4.25,19.79,16.345)])
R(unit_cell_aray, metal4, [(-5.415,-2.045,31.69,-0.315), (-5.415,-0.315,-1.97,-0.31), (-5.515,0.655,-2.07,0.66), (-5.515,0.66,31.66,2.39), (-5.57,3.59,-2.125,3.595), (-5.57,3.595,31.565,5.325), (-5.475,6.79,-2.03,6.795), (-5.475,6.795,31.565,8.525)])
R(unit_cell_aray, dualgate, [(17.42,-0.795,17.67,0.905), (17.42,1.625,17.67,2.925), (17.57,3.725,17.67,5.025), (17.57,5.745,17.67,7.445)])
R(unit_cell_aray, lvpwell, [(5.85,1.265,17.04,3.37), (22.615,1.265,28.65,2.735), (22.615,2.735,28.335,5.385), (22.64,5.385,28.335,6.195)])
unit_cell_aray.add(gdstk.Reference(gf180mcu_fd_sc_mcu7t5v0_, (0.37,3.025), x_reflection=True))
unit_cell_aray.add(gdstk.Reference(c_gf180mcu_fd_sc_mcu7t5v0_, (7.57,3.025), x_reflection=True))
unit_cell_aray.add(gdstk.Reference(c_gf180mcu_fd_sc_mcu7t5v0__, (14.37,3.025), x_reflection=True))
unit_cell_aray.add(gdstk.Reference(c_gf180mcu_fd_sc_mcu7t5v0___, (0.37,3.625)))
unit_cell_aray.add(gdstk.Reference(c_gf180mcu_fd_sc_mcu7t5v0____, (17.73,3.025), x_reflection=True))
unit_cell_aray.add(gdstk.Reference(c_gf180mcu_fd_sc_mcu7t5v0____, (17.73,3.625)))
unit_cell_aray.add(gdstk.Reference(cs_switch_16x2, (24.525,-0.725)))
unit_cell_aray.add(gdstk.Label('Ri', (1.21,1.377), layer=34, texttype=0))
unit_cell_aray.add(gdstk.Label('Ci', (2.33,0.615), layer=34, texttype=0))
unit_cell_aray.add(gdstk.Label('Ri-1', (9.895,1.065), layer=34, texttype=0))
unit_cell_aray.add(gdstk.Label('CLK', (1.49,5.585), layer=34, texttype=0))
unit_cell_aray.add(gdstk.Label('OUTP', (24.48,5.075), layer=34, texttype=10))
unit_cell_aray.add(gdstk.Label('OUTP', (24.48,6.312), layer=34, texttype=10))
unit_cell_aray.add(gdstk.Label('OUTN', (26.89,5.075), layer=34, texttype=10))
unit_cell_aray.add(gdstk.Label('OUTN', (26.89,6.16), layer=34, texttype=10))
unit_cell_aray.add(gdstk.Label('VBIAS', (26.725,4.325), layer=36, texttype=10))
unit_cell_aray.add(gdstk.Label('VBIAS', (26.73,1.96), layer=36, texttype=10))

lib.write_gds('unit_cell_aray.gds')
